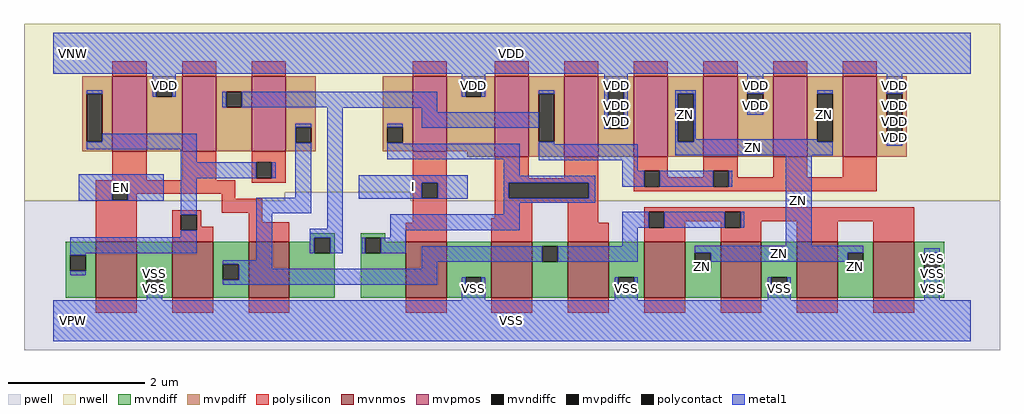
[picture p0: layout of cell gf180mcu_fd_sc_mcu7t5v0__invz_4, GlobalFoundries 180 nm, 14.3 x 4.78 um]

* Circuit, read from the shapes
.subckt gf180mcu_fd_sc_mcu7t5v0__invz_4 EN I ZN VDD VNW VPW VSS
XM1 VSS EN n1 VPW nfet_06v0 w=0.82u l=0.6u
XM2 n2 n1 VSS VPW nfet_06v0 w=0.82u l=0.6u
XM3 n3 EN n2 VPW nfet_06v0 w=0.82u l=0.6u
XM4 VSS I n4 VPW nfet_06v0 w=0.82u l=0.6u
XM5 n2 n4 VSS VPW nfet_06v0 w=0.82u l=0.6u m=2
XM6 ZN n2 VSS VPW nfet_06v0 w=0.82u l=0.6u m=4
XM7 VDD EN n1 VNW pfet_06v0 w=1.095u l=0.5u
XM8 n3 EN VDD VNW pfet_06v0 w=1.095u l=0.5u
XM9 n2 n1 n3 VNW pfet_06v0 w=1.095u l=0.5u
XM10 VDD I n4 VNW pfet_06v0 w=1.095u l=0.5u
XM11 n3 n4 VDD VNW pfet_06v0 w=1.18u l=0.5u m=2
XM12 ZN n3 VDD VNW pfet_06v0 w=1.18u l=0.5u m=4
.ends

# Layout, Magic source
magic
tech gf180mcuD
magscale 1 10
<< nwell >>
rect -86 377 2774 870
rect -86 352 678 377
rect 1047 352 2774 377
<< pwell >>
rect 678 352 1047 377
rect -86 -86 2774 352
<< mvnmos >>
rect 124 68 244 232
rect 348 68 468 232
rect 572 68 692 232
rect 1033 68 1153 232
rect 1283 68 1403 232
rect 1507 68 1627 232
rect 1731 68 1851 232
rect 1955 68 2075 232
rect 2179 68 2299 232
rect 2403 68 2523 232
<< mvpmos >>
rect 173 497 273 716
rect 377 497 477 716
rect 581 497 681 716
rect 1053 497 1153 716
rect 1293 480 1393 716
rect 1497 480 1597 716
rect 1701 480 1801 716
rect 1905 480 2005 716
rect 2109 480 2209 716
rect 2313 480 2413 716
<< mvndiff >>
rect 752 244 824 257
rect 752 232 765 244
rect 36 192 124 232
rect 36 146 49 192
rect 95 146 124 192
rect 36 68 124 146
rect 244 139 348 232
rect 244 93 273 139
rect 319 93 348 139
rect 244 68 348 93
rect 468 166 572 232
rect 468 120 497 166
rect 543 120 572 166
rect 468 68 572 120
rect 692 198 765 232
rect 811 198 824 244
rect 692 68 824 198
rect 901 244 973 257
rect 901 198 914 244
rect 960 232 973 244
rect 960 198 1033 232
rect 901 68 1033 198
rect 1153 127 1283 232
rect 1153 81 1208 127
rect 1254 81 1283 127
rect 1153 68 1283 81
rect 1403 219 1507 232
rect 1403 173 1432 219
rect 1478 173 1507 219
rect 1403 68 1507 173
rect 1627 127 1731 232
rect 1627 81 1656 127
rect 1702 81 1731 127
rect 1627 68 1731 81
rect 1851 200 1955 232
rect 1851 154 1880 200
rect 1926 154 1955 200
rect 1851 68 1955 154
rect 2075 127 2179 232
rect 2075 81 2104 127
rect 2150 81 2179 127
rect 2075 68 2179 81
rect 2299 200 2403 232
rect 2299 154 2328 200
rect 2374 154 2403 200
rect 2299 68 2403 154
rect 2523 200 2611 232
rect 2523 154 2552 200
rect 2598 154 2611 200
rect 2523 68 2611 154
<< mvpdiff >>
rect 85 665 173 716
rect 85 525 98 665
rect 144 525 173 665
rect 85 497 173 525
rect 273 703 377 716
rect 273 657 302 703
rect 348 657 377 703
rect 273 497 377 657
rect 477 671 581 716
rect 477 625 506 671
rect 552 625 581 671
rect 477 497 581 625
rect 681 567 769 716
rect 681 521 710 567
rect 756 521 769 567
rect 681 497 769 521
rect 965 567 1053 716
rect 965 521 978 567
rect 1024 521 1053 567
rect 965 497 1053 521
rect 1153 703 1293 716
rect 1153 657 1208 703
rect 1254 657 1293 703
rect 1153 497 1293 657
rect 1213 480 1293 497
rect 1393 665 1497 716
rect 1393 525 1422 665
rect 1468 525 1497 665
rect 1393 480 1497 525
rect 1597 703 1701 716
rect 1597 563 1626 703
rect 1672 563 1701 703
rect 1597 480 1701 563
rect 1801 665 1905 716
rect 1801 525 1830 665
rect 1876 525 1905 665
rect 1801 480 1905 525
rect 2005 665 2109 716
rect 2005 619 2034 665
rect 2080 619 2109 665
rect 2005 480 2109 619
rect 2209 665 2313 716
rect 2209 525 2238 665
rect 2284 525 2313 665
rect 2209 480 2313 525
rect 2413 665 2501 716
rect 2413 525 2442 665
rect 2488 525 2501 665
rect 2413 480 2501 525
<< mvndiffc >>
rect 49 146 95 192
rect 273 93 319 139
rect 497 120 543 166
rect 765 198 811 244
rect 914 198 960 244
rect 1208 81 1254 127
rect 1432 173 1478 219
rect 1656 81 1702 127
rect 1880 154 1926 200
rect 2104 81 2150 127
rect 2328 154 2374 200
rect 2552 154 2598 200
<< mvpdiffc >>
rect 98 525 144 665
rect 302 657 348 703
rect 506 625 552 671
rect 710 521 756 567
rect 978 521 1024 567
rect 1208 657 1254 703
rect 1422 525 1468 665
rect 1626 563 1672 703
rect 1830 525 1876 665
rect 2034 619 2080 665
rect 2238 525 2284 665
rect 2442 525 2488 665
<< polysilicon >>
rect 173 716 273 760
rect 377 716 477 760
rect 581 716 681 760
rect 1053 716 1153 760
rect 1293 716 1393 760
rect 1497 716 1597 760
rect 1701 716 1801 760
rect 1905 716 2005 760
rect 2109 716 2209 760
rect 2313 716 2413 760
rect 173 412 273 497
rect 377 412 477 497
rect 581 464 681 497
rect 581 418 594 464
rect 640 418 681 464
rect 124 399 533 412
rect 581 405 681 418
rect 1053 405 1153 497
rect 124 353 172 399
rect 218 372 533 399
rect 218 353 244 372
rect 124 232 244 353
rect 493 357 533 372
rect 1053 359 1080 405
rect 1126 359 1153 405
rect 348 311 433 324
rect 493 317 612 357
rect 348 265 374 311
rect 420 276 433 311
rect 572 288 612 317
rect 420 265 468 276
rect 348 232 468 265
rect 572 232 692 288
rect 1053 287 1153 359
rect 1293 418 1393 480
rect 1497 418 1597 480
rect 1293 405 1597 418
rect 1293 359 1335 405
rect 1569 359 1597 405
rect 1701 439 1801 480
rect 1701 393 1731 439
rect 1777 420 1801 439
rect 1905 439 2005 480
rect 1905 420 1933 439
rect 1777 393 1933 420
rect 1979 420 2005 439
rect 2109 420 2209 480
rect 2313 420 2413 480
rect 1979 393 2413 420
rect 1701 380 2413 393
rect 1293 346 1597 359
rect 1293 300 1403 346
rect 1033 232 1153 287
rect 1283 232 1403 300
rect 1507 287 1597 346
rect 1731 319 2523 332
rect 1507 232 1627 287
rect 1731 273 1744 319
rect 1790 292 1968 319
rect 1790 273 1851 292
rect 1731 232 1851 273
rect 1955 273 1968 292
rect 2014 292 2523 319
rect 2014 273 2075 292
rect 1955 232 2075 273
rect 2179 232 2299 292
rect 2403 232 2523 292
rect 124 24 244 68
rect 348 24 468 68
rect 572 24 692 68
rect 1033 24 1153 68
rect 1283 24 1403 68
rect 1507 24 1627 68
rect 1731 24 1851 68
rect 1955 24 2075 68
rect 2179 24 2299 68
rect 2403 24 2523 68
<< polycontact >>
rect 594 418 640 464
rect 172 353 218 399
rect 1080 359 1126 405
rect 374 265 420 311
rect 1335 359 1569 405
rect 1731 393 1777 439
rect 1933 393 1979 439
rect 1744 273 1790 319
rect 1968 273 2014 319
<< metal1 >>
rect 0 724 2688 844
rect 291 703 359 724
rect 98 665 144 676
rect 291 657 302 703
rect 348 657 359 703
rect 1197 703 1265 724
rect 495 625 506 671
rect 552 625 1125 671
rect 1197 657 1208 703
rect 1254 657 1265 703
rect 1615 703 1683 724
rect 1422 665 1468 676
rect 802 624 1125 625
rect 709 567 756 578
rect 144 525 420 548
rect 98 502 420 525
rect 374 464 420 502
rect 709 521 710 567
rect 74 399 324 430
rect 74 353 172 399
rect 218 353 324 399
rect 74 352 324 353
rect 374 418 594 464
rect 640 418 652 464
rect 374 417 652 418
rect 374 311 420 417
rect 709 361 756 521
rect 374 245 420 265
rect 49 198 420 245
rect 595 315 756 361
rect 49 192 95 198
rect 595 177 641 315
rect 802 269 848 624
rect 1079 611 1125 624
rect 978 567 1024 578
rect 1079 565 1422 611
rect 978 519 1024 521
rect 1615 563 1626 703
rect 1672 563 1683 703
rect 1822 665 1882 676
rect 978 473 1366 519
rect 895 405 1214 427
rect 895 359 1080 405
rect 1126 359 1214 405
rect 895 358 1214 359
rect 1320 425 1366 473
rect 1422 517 1468 525
rect 1822 525 1830 665
rect 1876 532 1882 665
rect 2034 665 2080 724
rect 2034 604 2080 619
rect 2238 665 2284 676
rect 1876 525 2238 532
rect 1422 471 1713 517
rect 1822 485 2284 525
rect 2442 665 2488 724
rect 2442 513 2488 525
rect 1667 439 1713 471
rect 1320 405 1588 425
rect 1320 359 1335 405
rect 1569 359 1588 405
rect 1667 393 1731 439
rect 1777 393 1933 439
rect 1979 393 1990 439
rect 1667 392 1990 393
rect 1320 346 1588 359
rect 1320 312 1366 346
rect 752 244 848 269
rect 987 265 1366 312
rect 1667 273 1744 319
rect 1790 273 1968 319
rect 2014 273 2025 319
rect 987 244 1033 265
rect 752 198 765 244
rect 811 198 848 244
rect 903 198 914 244
rect 960 198 1033 244
rect 1667 219 1713 273
rect 2146 220 2222 485
rect 497 166 641 177
rect 49 134 95 146
rect 273 139 319 152
rect 543 152 641 166
rect 1079 173 1432 219
rect 1478 173 1713 219
rect 1880 200 2374 220
rect 1079 152 1125 173
rect 543 120 1125 152
rect 1926 173 2328 200
rect 1880 143 1926 154
rect 2328 142 2374 154
rect 2552 200 2598 212
rect 497 106 1125 120
rect 273 60 319 93
rect 1197 81 1208 127
rect 1254 81 1265 127
rect 1197 60 1265 81
rect 1645 81 1656 127
rect 1702 81 1713 127
rect 1645 60 1713 81
rect 2093 81 2104 127
rect 2150 81 2161 127
rect 2093 60 2161 81
rect 2552 60 2598 154
rect 0 -60 2688 60
<< labels >>
flabel metal1 s 0 724 2688 844 0 FreeSans 400 0 0 0 VDD
port 4 nsew power bidirectional abutment
flabel metal1 s 2552 152 2598 212 0 FreeSans 400 0 0 0 VSS
port 7 nsew ground bidirectional abutment
flabel metal1 s 2238 532 2284 676 0 FreeSans 400 0 0 0 ZN
port 3 nsew default output
flabel metal1 s 74 352 324 430 0 FreeSans 400 0 0 0 EN
port 1 nsew default input
flabel metal1 s 895 358 1214 427 0 FreeSans 400 0 0 0 I
port 2 nsew default input
flabel nwell s 10 734 110 834 0 FreeSans 400 0 0 0 VNW
port 5 nsew power bidirectional
flabel pwell s 10 -50 110 50 0 FreeSans 400 0 0 0 VPW
port 6 nsew ground bidirectional
rlabel metal1 s 1822 532 1882 676 1 ZN
port 3 nsew default output
rlabel metal1 s 1822 485 2284 532 1 ZN
port 3 nsew default output
rlabel metal1 s 2146 220 2222 485 1 ZN
port 3 nsew default output
rlabel metal1 s 1880 173 2374 220 1 ZN
port 3 nsew default output
rlabel metal1 s 2328 143 2374 173 1 ZN
port 3 nsew default output
rlabel metal1 s 1880 143 1926 173 1 ZN
port 3 nsew default output
rlabel metal1 s 2328 142 2374 143 1 ZN
port 3 nsew default output
rlabel metal1 s 2442 657 2488 724 1 VDD
port 4 nsew power bidirectional abutment
rlabel metal1 s 2034 657 2080 724 1 VDD
port 4 nsew power bidirectional abutment
rlabel metal1 s 1615 657 1683 724 1 VDD
port 4 nsew power bidirectional abutment
rlabel metal1 s 1197 657 1265 724 1 VDD
port 4 nsew power bidirectional abutment
rlabel metal1 s 291 657 359 724 1 VDD
port 4 nsew power bidirectional abutment
rlabel metal1 s 2442 604 2488 657 1 VDD
port 4 nsew power bidirectional abutment
rlabel metal1 s 2034 604 2080 657 1 VDD
port 4 nsew power bidirectional abutment
rlabel metal1 s 1615 604 1683 657 1 VDD
port 4 nsew power bidirectional abutment
rlabel metal1 s 2442 563 2488 604 1 VDD
port 4 nsew power bidirectional abutment
rlabel metal1 s 1615 563 1683 604 1 VDD
port 4 nsew power bidirectional abutment
rlabel metal1 s 2442 513 2488 563 1 VDD
port 4 nsew power bidirectional abutment
rlabel metal1 s 2552 127 2598 152 1 VSS
port 7 nsew ground bidirectional abutment
rlabel metal1 s 273 127 319 152 1 VSS
port 7 nsew ground bidirectional abutment
rlabel metal1 s 2552 60 2598 127 1 VSS
port 7 nsew ground bidirectional abutment
rlabel metal1 s 2093 60 2161 127 1 VSS
port 7 nsew ground bidirectional abutment
rlabel metal1 s 1645 60 1713 127 1 VSS
port 7 nsew ground bidirectional abutment
rlabel metal1 s 1197 60 1265 127 1 VSS
port 7 nsew ground bidirectional abutment
rlabel metal1 s 273 60 319 127 1 VSS
port 7 nsew ground bidirectional abutment
rlabel metal1 s 0 -60 2688 60 1 VSS
port 7 nsew ground bidirectional abutment
<< properties >>
string FIXED_BBOX 0 0 2688 784
string GDS_END 540968
string GDS_FILE $PDKPATH/libs.ref/gf180mcu_fd_sc_mcu7t5v0/gds/gf180mcu_fd_sc_mcu7t5v0.gds
string GDS_START 534262
string LEFclass core
string LEFsite GF018hv5v_mcu_sc7
string LEFsymmetry X Y
<< end >>
